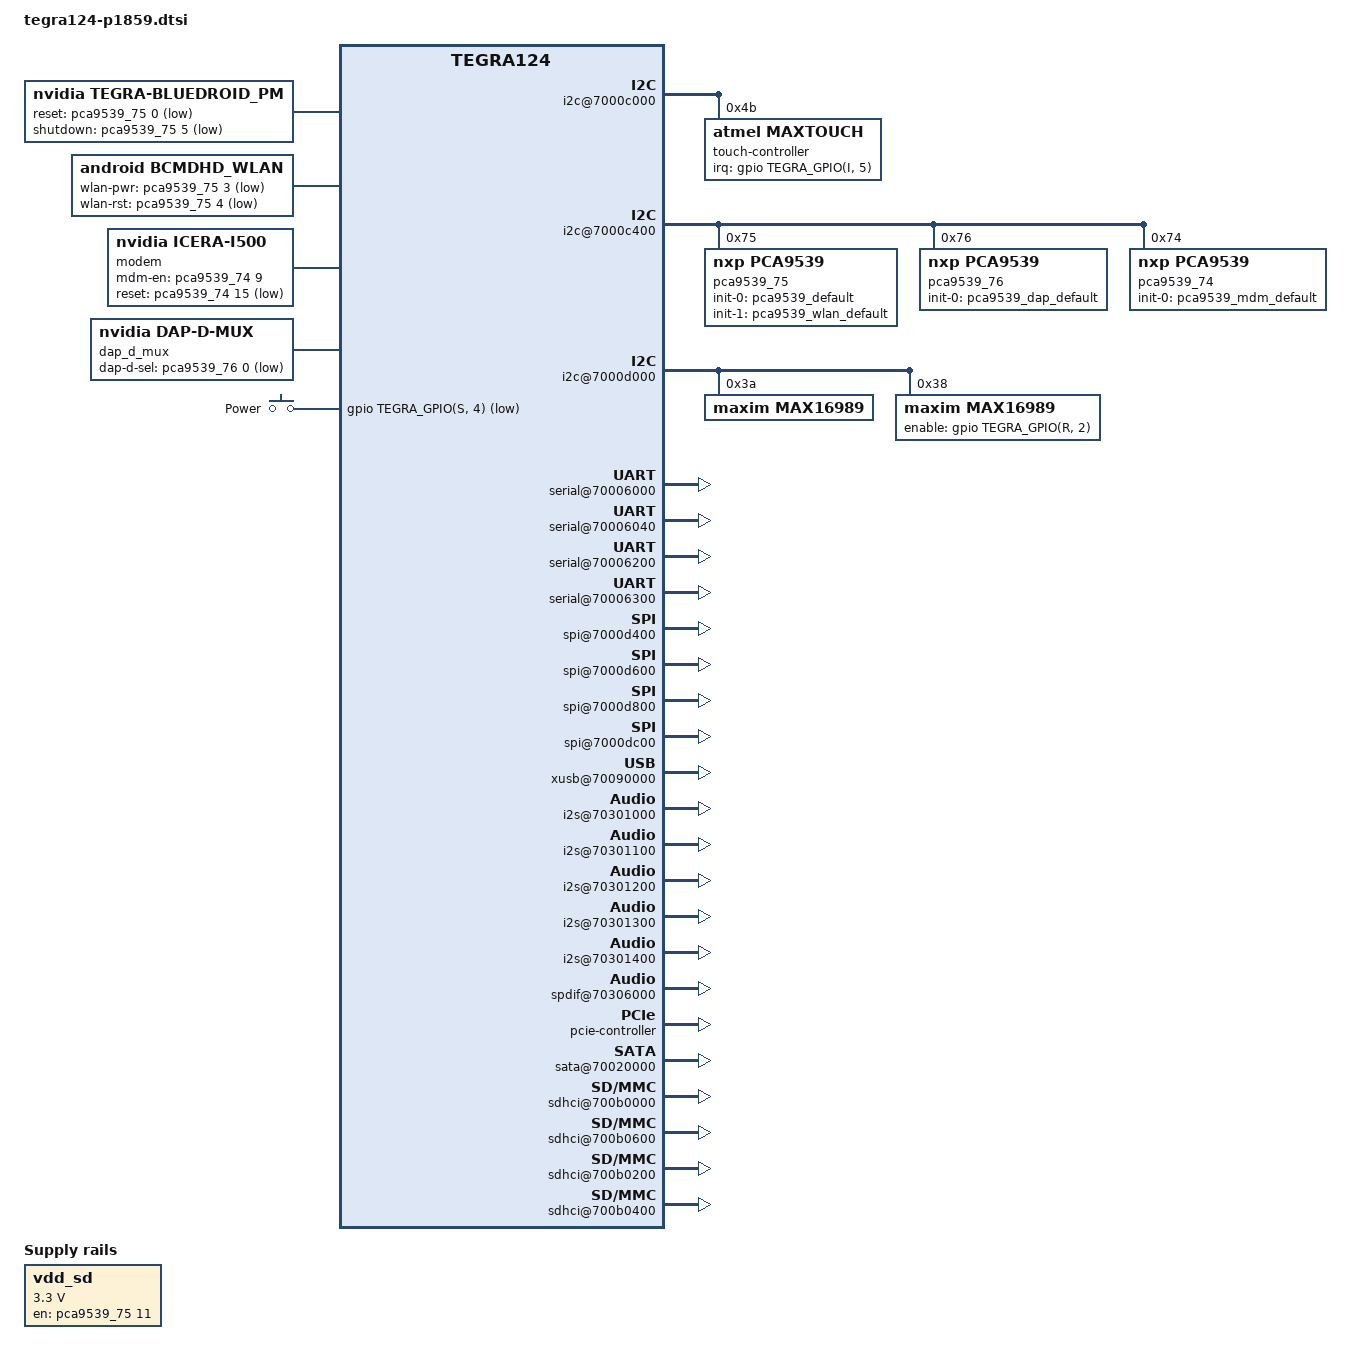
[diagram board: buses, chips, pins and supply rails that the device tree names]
/*
 * arch/arm/boot/dts/tegra124-p1859.dts
 *
 * Copyright (c) 2013-2015, NVIDIA CORPORATION.  All rights reserved.
 *
 * This program is free software; you can redistribute it and/or modify
 * it under the terms of the GNU General Public License as published by
 * the Free Software Foundation; version 2 of the License.
 *
 * This program is distributed in the hope that it will be useful, but WITHOUT
 * ANY WARRANTY; without even the implied warranty of MERCHANTABILITY or
 * FITNESS FOR A PARTICULAR PURPOSE.  See the GNU General Public License for
 * more details.
 *
 * You should have received a copy of the GNU General Public License along
 * with this program; if not, write to the Free Software Foundation, Inc.,
 * 51 Franklin Street, Fifth Floor, Boston, MA  02110-1301, USA.
 *
 */

/*
 * tegra124-p1859.dtsi is the board dtsi file representing the p1859
 * board. Since the same p1859 board is supported in multiple ways eg
 * ardbeg, virtual machines, p1859 linux etc, this file needs to be
 * included and then the required changes should be made in the
 * corresponding dts
 */

#include "tegra124-vcm30_t124.dtsi"
#include <tegra124-platforms/tegra124-p1859-gpio-default.dtsi>
#include <tegra124-platforms/tegra124-p1859-pinmux.dtsi>
#include <panel-a-edp-1080p-14-0.dtsi>
#include <tegra124-platforms/tegra124-vcm30-t124-hdmi.dtsi>

/ {
	#address-cells = <2>;
	#size-cells = <2>;

	host1x {
		sor {
			status = "okay";
			panel-a-edp-1080p-14-0 {
				disp-default-out {
					nvidia,out-max-pixclk = <3367>;
					nvidia,dither = <TEGRA_DC_ORDERED_DITHER>;
					nvidia,out-depth = <0>; /* let EDID set */
				};
			};
		};

		dpaux {
			status = "okay";
		};

		/* tegradc.0 */
		dc@54200000 {
			nvidia,dc-flags = <TEGRA_DC_FLAG_ENABLED>;
			nvidia,emc-clk-rate = <204000000>;
			nvidia,fb-bpp = <32>; /* bits per pixel */
			nvidia,cmu-enable = <1>;
			status = "okay";
		};

		/* tegradc.1 */
		dc@54240000 {
			nvidia,emc-clk-rate = <300000000>;
			nvidia,fb-bpp = <32>; /* bits per pixel */
			status = "okay";
		};
	};

	i2c@7000c000 {
		touch-controller@4b {
			compatible = "atmel,maxtouch";
			reg = <0x4b>;
			interrupt-parent = <&gpio>;
			interrupts = <TEGRA_GPIO(I, 5) 0x0>;
			atmel,irq_flags = <IRQ_TYPE_LEVEL_LOW>;
			status = "okay";
		};
	};

	i2c@7000c400 {
		nvidia,clock-always-on;

		/* U21 */
		pca9539_75: pca9546@75 {
			compatible = "nxp,pca9539";
			gpio-controller;
			#gpio-cells = <2>;
			reg = <0x75>;
			gpio-init-names = "default", "wlan-default";
			gpio-init-0 = <&pca9539_default>;
			gpio-init-1 = <&pca9539_wlan_default>;
			pca9539_default: default {
				gpio-output-low = <4>;
				gpio-output-high = <0 3 5 7 9 13 14 15>;
			};
			pca9539_wlan_default: wlan-default {
				/* WF_RST_3V3 */
				gpio-output-high = <4>;
			};
		};

		/* U67 */
		pca9539_76: pca9546@76 {
			compatible = "nxp,pca9539";
			gpio-controller;
			#gpio-cells = <2>;
			reg = <0x76>;
			gpio-init-names = "dap_default";
			gpio-init-0 = <&pca9539_dap_default>;
			pca9539_dap_default: dap_default {
				/* MUX_DAP_D_SEL, MUX_DAP_D_EN */
				gpio-output-low = <0 1>;
			};
		};

		/* U22 */
		pca9539_74: pca9546@74 {
			compatible = "nxp,pca9539";
			gpio-controller;
			#gpio-cells = <2>;
			reg = <0x74>;
			gpio-init-names = "mdm_default";
			gpio-init-0 = <&pca9539_mdm_default>;
			pca9539_mdm_default: mdm_default {
				/* MDM_EN, AP_MDM_RESET_3V3 */
				gpio-output-low = <9 15>;
				/* MDM_COLDBOOT */
				gpio-input = <11>;
			};
		};
	};

	i2c@7000d000 {
		status = "okay";
		nvidia,clock-always-on;

		max16989@3a {
			compatible = "maxim,max16989";
			reg = <0x3a>;
			regulator-name = "max16989-vdd-cpu";
			regulator-min-microvolt = <500000>;
			regulator-max-microvolt = <1500000>;
			consumers {
				c1 {
					regulator-consumer-supply = "vdd_cpu";
				};
			};
		};

		max16989@38 {
			compatible = "maxim,max16989";
			reg = <0x38>;
			regulator-name = "max16989-vdd-gpu";
			regulator-min-microvolt = <500000>;
			regulator-max-microvolt = <1500000>;
			enable-gpio = <&gpio TEGRA_GPIO(R, 2) 0>;
			regulator-enable-ramp-delay = <210>;
			consumers {
				c1 {
					regulator-consumer-supply = "vdd_gpu";
				};
			};
		};

	};

	regulators {
		compatible = "simple-bus";
		device_type = "fixed-regulators";
		#address-cells = <1>;
		#size-cells = <0>;

		vdd_sd: regulator@1 {
			compatible = "regulator-fixed-sync";
			regulator-name = "vddio_sd_slot-reg";
			regulator-min-microvolt = <3300000>;
			regulator-max-microvolt = <3300000>;
			gpio = <&pca9539_75 11 1>;
			enable-active-high;
		};
	};

	serial@70006000 {
		status = "okay";
	};

	serial@70006040 {
		status = "okay";
	};

	serial@70006200 {
		compatible = "nvidia,tegra20-uart";
		console-port;
		status = "okay";
	};

	serial@70006300 {
		status = "okay";
	};

	spi@7000d400 {
		compatible = "nvidia,tegra124-spi-slave";
		nvidia,clk-pin = "gpio_x5_aud_px5";
		nvidia,rx-trigger-words = <0>;
		spi-max-frequency = <48000000>;
		status = "okay";
	};

	spi@7000d600 {
		status = "okay";
	};

	spi@7000d800 {
		status = "okay";
	};

	spi@7000dc00 {
		status = "okay";
	};

	xusb@70090000 {
		status = "okay";
	};

	ahub {
		status = "okay";

		i2s@70301000 {
			status = "okay";
		};
		i2s@70301100 {
			status = "okay";
		};
		i2s@70301200 {
			fsync-width = <0>;
			status = "okay";
		};
		i2s@70301300 {
			status = "okay";
		};
		i2s@70301400 {
			status = "okay";
		};
		spdif@70306000 {
			status = "okay";
		};
		amx@70303000 {
			status = "okay";
		};
		adx@70303800 {
			status = "okay";
		};
		amx@70303100 {
			status = "okay";
		};
		adx@70303900 {
			status = "okay";
		};
		dam@70302000 {
			status = "okay";
		};
		dam@70302200 {
			status = "okay";
		};
		dam@70302400 {
			status = "okay";
		};
		afc@70307000 {
			status = "okay";
		};
		afc@70307100 {
			status = "okay";
		};
		afc@70307200 {
			status = "okay";
		};
		afc@70307300 {
			status = "okay";
		};
		afc@70307400 {
			status = "okay";
		};
		afc@70307500 {
			status = "okay";
		};
	};

	tegra-vcm30t124-alt {
		compatible = "nvidia,tegra-audio-vcm30t124";
		status = "okay";
	};

	pcie-controller {
		status = "okay";

		pci@1,0 {
			status = "okay";
		};

		pci@2,0 {
			status = "okay";
		};
	};

	sata@70020000 {
		status = "okay";
	};

	sdhci@700b0000 {
		nvidia,update-pinctrl-settings;
		pinctrl-names = "default_mode", "uhs_sdr50_mode", "uhs_sdr104_mode";
		pinctrl-0 = <&sdmmc1_hs_mode>;
		pinctrl-1 = <&sdmmc1_uhs_sdr50_mode>;
		pinctrl-2 = <&sdmmc1_uhs_sdr104_mode>;
		status = "okay";
	};

	sdhci@700b0600 {
		pwr-off-during-lp0 = <1>;
		status = "okay";
	};

	sdhci@700b0200 {
		pwr-off-during-lp0 = <1>;
		status = "okay";
	};

	sdhci@700b0400 {
		vddio_sd_slot-supply = <&vdd_sd>;
		nvidia,update-pinctrl-settings;
		pinctrl-names = "default_mode", "uhs_sdr50_mode", "uhs_sdr104_mode";
		pinctrl-0 = <&sdmmc3_hs_mode>;
		pinctrl-1 = <&sdmmc3_uhs_sdr50_mode>;
		pinctrl-2 = <&sdmmc3_uhs_sdr104_mode>;
		status = "okay";
	};

	snor {
		status = "okay";
	};

	bluedroid_pm {
		compatible = "nvidia,tegra-bluedroid_pm";
		id = <0>;
		bluedroid_pm,reset-gpio = <&pca9539_75 0 1>;
		bluedroid_pm,shutdown-gpio = <&pca9539_75 5 1>;
		status = "okay";
	};
	bcmdhd_wlan {
		compatible = "android,bcmdhd_wlan";
		wlan-pwr-gpio = <&pca9539_75 3 1>;
		wlan-rst-gpio = <&pca9539_75 4 1>;
		status = "okay";
	};
	modem {
		compatible = "nvidia,icera-i500";
		/* XHCI_UTMI phy type */
		nvidia,phy-type = <2>;
		nvidia,mdm-en-gpio = <&pca9539_74 9 GPIO_ACTIVE_HIGH>;
		nvidia,reset-gpio = <&pca9539_74 15 GPIO_ACTIVE_LOW>;
		status = "okay";
	};
	dap_d_mux {
		compatible = "nvidia,dap-d-mux";
		nvidia,dap-d-sel-gpio = <&pca9539_76 0 GPIO_ACTIVE_LOW>;
		status = "okay";
	};

	cpu_dfll_pmic_integration {
		pmic-i2c-address = <0x74>;
		pmic-i2c-voltage-register = <0x07>;
		i2c-fs-rate = <400000>;
		sel-conversion-slope = <1>;
	};

	gpio-keys {
		compatible = "gpio-keys";
		gpio_sys_12 {
			label = "Power";
			linux,code = <KEY_POWER>;
			gpios = <&gpio TEGRA_GPIO(S, 4) GPIO_ACTIVE_LOW>;
			gpio-key,wakeup;
		};
	};
};
